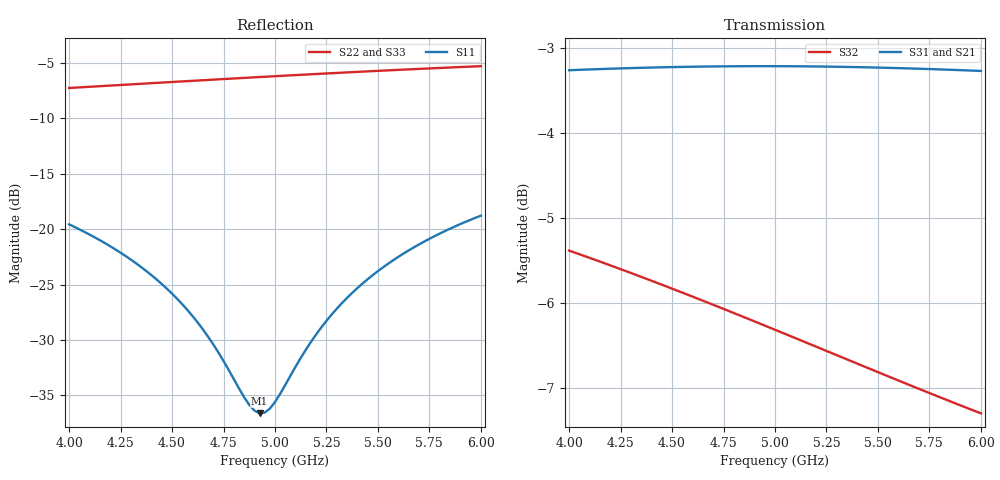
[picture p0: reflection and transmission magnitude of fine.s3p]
! yapnr rf: divider-osh-m-star, footprint re-simulated (refine 2)
! spec sha256 5c8ff818df422873aa88d55bef2dedd6a6ce6afaf8815cf4395bdffaf75e430d
! 3 ports renormalized to 50 ohm, e^(+jwt) convention
# GHz S RI R 50
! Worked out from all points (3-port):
!   81 points, 4 GHz to 6 GHz, reference 50 ohm
!   strongest paths, dB at 4 GHz, 4.5 GHz, 5 GHz, 5.5 GHz, 6 GHz:
!     S31: -3.3, -3.2, -3.2, -3.2, -3.3
!     S21: -3.3, -3.2, -3.2, -3.2, -3.3
!     S32: -5.4, -5.8, -6.3, -6.8, -7.3
!   lowest |S11| = -36.6 dB at 4.925 GHz (marker M1), VSWR 1.03, Z = 48.6 + j0.314 ohm
!   |S11| at or under -10 dB: start of sweep to end of sweep
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4  -0.0355 0.099  -0.226 -0.6489  -0.226 -0.6489
   -0.2261 -0.6489  0.3194 0.2942  -0.4019 -0.3577
   -0.2261 -0.6489  -0.4019 -0.3577  0.3194 0.2942
4.5  -0.0151 0.0489  -0.3806 -0.5757  -0.3806 -0.5757
     -0.3806 -0.5756  0.4141 0.205  -0.461 -0.2203
     -0.3806 -0.5756  -0.461 -0.2203  0.4141 0.205
4.65  -0.0131 0.0328  -0.4229 -0.5459  -0.4229 -0.5459
      -0.423 -0.5459  0.4379 0.1727  -0.4698 -0.1787
      -0.423 -0.5459  -0.4698 -0.1787  0.4379 0.1727
4.875  -0.0137 0.00854  -0.4818 -0.4953  -0.4818 -0.4953
       -0.4818 -0.4952  0.4685 0.1199  -0.4759 -0.1172
       -0.4818 -0.4952  -0.4759 -0.1172  0.4685 0.1199
4.925  -0.0144 0.00323  -0.4941 -0.4831  -0.4941 -0.4831
       -0.4941 -0.483  0.4744 0.1076  -0.4762 -0.1039
       -0.4941 -0.483  -0.4762 -0.1039  0.4744 0.1076
5  -0.0159 -0.00466  -0.5118 -0.4642  -0.5118 -0.4642
   -0.5119 -0.4641  0.4827 0.0887  -0.4758 -0.0841
   -0.5119 -0.4641  -0.4758 -0.0841  0.4827 0.0887
5.2  -0.0224 -0.025  -0.5554 -0.4106  -0.5554 -0.4106
     -0.5554 -0.4106  0.5008 0.0364  -0.4711 -0.0329
     -0.5554 -0.4106  -0.4711 -0.0329  0.5008 0.0364
5.4  -0.0321 -0.0437  -0.593 -0.3529  -0.593 -0.3529
     -0.5931 -0.3528  0.513 -0.0182  -0.4612 0.0154
     -0.5931 -0.3528  -0.4612 0.0154  0.513 -0.0182
5.675  -0.0504 -0.0658  -0.6344 -0.2681  -0.6344 -0.2681
       -0.6344 -0.268  0.5195 -0.0955  -0.4406 0.0764
       -0.6344 -0.268  -0.4406 0.0764  0.5195 -0.0955
6  -0.0777 -0.085  -0.6671 -0.1623  -0.6671 -0.1623
   -0.6671 -0.1622  0.5114 -0.1876  -0.4081 0.1398
   -0.6671 -0.1622  -0.4081 0.1398  0.5114 -0.1876
